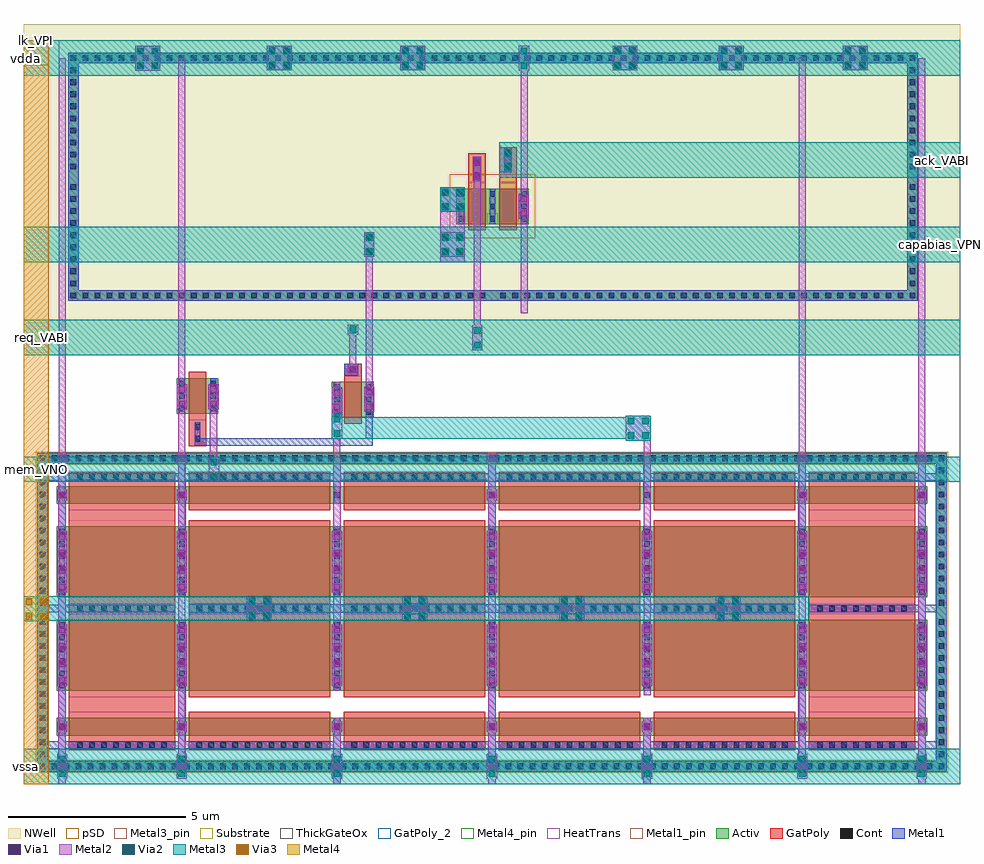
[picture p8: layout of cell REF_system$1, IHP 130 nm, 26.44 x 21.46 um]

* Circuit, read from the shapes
.subckt REF_system$1 ack_VABI capabias_VPN lk_VPI mem_VNO req_VABI vdda vssa
XM1 vssa vssa vssa vssa sg13_hv_nmos w=0.5u l=3u m=4
XM2 vssa vssa vssa vssa sg13_hv_nmos w=2u l=3u m=4
XM3 vssa vssa vssa vssa sg13_hv_nmos w=0.5u l=4u m=8
XM4 n1 lk_VPI vssa vssa sg13_hv_nmos w=2u l=4u m=8
XM5 mem_VNO capabias_VPN vssa vssa sg13_hv_nmos w=1u l=0.5u
XM6 capabias_VPN req_VABI n1 vssa sg13_hv_nmos w=1u l=0.5u
XM7 n2 req_VABI capabias_VPN vdda sg13_hv_pmos w=1u l=0.5u
XM8 vdda ack_VABI n2 vdda sg13_hv_pmos w=1u l=0.5u
.ends

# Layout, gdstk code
from math import pi, radians
import gdstk
lib = gdstk.Library(unit=1e-6, precision=1e-09)
def R(c, l, rs):  # rectangles x0, y0, x1, y1
    for r in rs: c.add(gdstk.rectangle(r[:2], r[2:], *l))
def A(c, l, x, y, w, h, nx, ny, dx, dy):  # array of equal rectangles
    R(c, l, [(x+i*dx, y+j*dy, x+i*dx+w, y+j*dy+h) for i in range(nx) for j in range(ny)])
def P(c, l, *ps):  # polygons
    for p in ps: c.add(gdstk.Polygon(p, *l))
Activ = (1, 0)
GatPoly = (5, 0)
GatPoly_2 = (5, 2)
Cont = (6, 0)
Metal1 = (8, 0)
Metal1_pin = (8, 2)
Metal2 = (10, 0)
pSD = (14, 0)
Via1 = (19, 0)
Via2 = (29, 0)
Metal3 = (30, 0)
Metal3_pin = (30, 2)
NWell = (31, 0)
Substrate = (40, 0)
ThickGateOx = (44, 0)
Via3 = (49, 0)
Metal4 = (50, 0)
Metal4_pin = (50, 2)
HeatTrans = (51, 0)

nmoshv = lib.new_cell('nmosHV')
A(nmoshv, Activ, 0, 0, 0.3, 0.3, 3, 1, 4.38, 0)
R(nmoshv, Activ, [(0,0,9.06,2)])
R(nmoshv, GatPoly, [(0.34,-0.18,4.34,2.18), (4.72,-0.18,8.72,2.18)])
R(nmoshv, GatPoly_2, [(0.34,-0.18,4.34,2.18)])
A(nmoshv, Cont, 0.07, 0.07, 0.16, 0.16, 3, 6, 4.38, 0.34)
A(nmoshv, Metal1, 0.07, 0, 0.16, 2, 3, 1, 4.38, 0)
R(nmoshv, Metal1_pin, [(0.07,0,0.23,2), (4.45,0,4.61,2)])
R(nmoshv, ThickGateOx, [(-0.27,-0.52,9.33,2.52)])
R(nmoshv, HeatTrans, [(0.34,-0.18,4.34,2.18), (4.72,-0.18,8.72,2.18)])
nmoshv.add(gdstk.Label('nmosHV', (2.34,1), layer=63, texttype=0))
nmoshv.add(gdstk.Label('nmosHV', (2.34,1), layer=51, texttype=0))
nmoshv.add(gdstk.Label('nmosHV', (6.72,1), layer=51, texttype=0))

nmoshv_1 = lib.new_cell('nmosHV$1')
A(nmoshv_1, Activ, 0, 0, 0.3, 0.3, 5, 1, 4.38, 0)
R(nmoshv_1, Activ, [(0,0,17.82,0.5)])
A(nmoshv_1, GatPoly, 0.34, -0.18, 4, 0.86, 4, 1, 4.38, 0)
R(nmoshv_1, GatPoly_2, [(0.34,-0.18,4.34,0.68)])
A(nmoshv_1, Cont, 0.07, 0.17, 0.16, 0.16, 5, 1, 4.38, 0)
A(nmoshv_1, Metal1, 0.07, 0, 0.16, 0.5, 5, 1, 4.38, 0)
R(nmoshv_1, Metal1_pin, [(0.07,0,0.23,0.5), (4.45,0,4.61,0.5)])
R(nmoshv_1, ThickGateOx, [(-0.27,-0.52,18.09,1.02)])
A(nmoshv_1, HeatTrans, 0.34, -0.18, 4, 0.86, 4, 1, 4.38, 0)
nmoshv_1.add(gdstk.Label('nmosHV', (2.34,0.25), layer=63, texttype=0))
nmoshv_1.add(gdstk.Label('nmosHV', (2.34,0.25), layer=51, texttype=0))
nmoshv_1.add(gdstk.Label('nmosHV', (6.72,0.25), layer=51, texttype=0))
nmoshv_1.add(gdstk.Label('nmosHV', (11.1,0.25), layer=51, texttype=0))
nmoshv_1.add(gdstk.Label('nmosHV', (15.48,0.25), layer=51, texttype=0))

nmoshv_7 = lib.new_cell('nmosHV$7')
R(nmoshv_7, Activ, [(0,0,0.3,0.3), (0,0,1.18,1), (0.88,0,1.18,0.3)])
R(nmoshv_7, GatPoly, [(0.34,-0.18,0.84,1.18)])
R(nmoshv_7, GatPoly_2, [(0.34,-0.18,0.84,1.18)])
A(nmoshv_7, Cont, 0.07, 0.07, 0.16, 0.16, 1, 3, 0, 0.35)
A(nmoshv_7, Cont, 0.95, 0.07, 0.16, 0.16, 1, 3, 0, 0.35)
R(nmoshv_7, Metal1, [(0.07,0,0.23,1), (0.95,0,1.11,1)])
R(nmoshv_7, Metal1_pin, [(0.07,0,0.23,1), (0.95,0,1.11,1)])
R(nmoshv_7, ThickGateOx, [(-0.27,-0.52,1.45,1.52)])
R(nmoshv_7, HeatTrans, [(0.34,-0.18,0.84,1.18)])
nmoshv_7.add(gdstk.Label('nmosHV', (0.59,0.5), layer=63, texttype=0))
nmoshv_7.add(gdstk.Label('nmosHV', (0.59,0.5), layer=51, texttype=0))

pmoshv_7 = lib.new_cell('pmosHV$7')
R(pmoshv_7, Activ, [(0,0,0.3,0.3), (0,0,1.18,1), (0.88,0,1.18,0.3)])
R(pmoshv_7, GatPoly, [(0.34,-0.18,0.84,1.18)])
R(pmoshv_7, GatPoly_2, [(0.34,-0.18,0.84,1.18)])
A(pmoshv_7, Cont, 0.07, 0.07, 0.16, 0.16, 1, 3, 0, 0.35)
A(pmoshv_7, Cont, 0.95, 0.07, 0.16, 0.16, 1, 3, 0, 0.35)
R(pmoshv_7, Metal1, [(0.07,0,0.23,1), (0.95,0,1.11,1)])
R(pmoshv_7, Metal1_pin, [(0.07,0,0.23,1), (0.95,0,1.11,1)])
R(pmoshv_7, pSD, [(-0.18,-0.4,1.36,1.4)])
R(pmoshv_7, NWell, [(-0.62,-0.62,1.8,1.62)])
R(pmoshv_7, Substrate, [(0.88,0,1.18,0.3)])
R(pmoshv_7, ThickGateOx, [(-0.62,-0.62,1.8,1.62)])
R(pmoshv_7, HeatTrans, [(0.34,-0.18,0.84,1.18)])
pmoshv_7.add(gdstk.Label('pmosHV', (0.59,0.5), layer=63, texttype=0))
pmoshv_7.add(gdstk.Label('pmos', (0.59,0.5), layer=51, texttype=0))

via_stack_3 = lib.new_cell('via_stack$3')
R(via_stack_3, Metal1, [(-0.145,-0.35,0.145,0.35)])
R(via_stack_3, Metal2, [(-0.145,-0.35,0.145,0.35)])
R(via_stack_3, Via1, [(-0.095,-0.3,0.095,-0.11), (-0.095,0.11,0.095,0.3)])

guard_ring_7 = lib.new_cell('guard_ring$7')
R(guard_ring_7, Activ, [(-12.85,-4.2,-12.55,4.2), (12.55,-4.2,12.85,4.2), (-12.85,4.2,12.85,4.5)])
P(guard_ring_7, Activ, [(-12.85,-4.5),(-12.85,4.2),(-12.55,4.2),(-12.55,-4.2),(12.55,-4.2),(12.55,4.2),(-12.85,4.2),(-12.85,4.5),(12.85,4.5),(12.85,-4.5)])
A(guard_ring_7, Cont, -12.78, -4.43, 0.16, 0.16, 37, 2, 0.34, 8.7)
A(guard_ring_7, Cont, 0.04, -4.43, 0.16, 0.16, 38, 2, 0.34, 8.7)
A(guard_ring_7, Cont, -12.78, -4.09, 0.16, 0.16, 1, 12, 0, 0.34)
A(guard_ring_7, Cont, 12.62, -4.09, 0.16, 0.16, 1, 12, 0, 0.34)
A(guard_ring_7, Cont, -12.78, 0.19, 0.16, 0.16, 1, 12, 0, 0.34)
A(guard_ring_7, Cont, 12.62, 0.19, 0.16, 0.16, 1, 12, 0, 0.34)
R(guard_ring_7, Metal1, [(-12.85,-4.5,12.85,-4.2), (-12.85,-4.2,-12.55,4.2), (12.55,-4.2,12.85,4.2), (-12.85,4.2,12.85,4.5)])
R(guard_ring_7, pSD, [(-12.88,-4.17,-12.52,4.17), (12.52,-4.17,12.88,4.17), (-12.88,4.17,12.88,4.53)])
P(guard_ring_7, pSD, [(-12.88,-4.53),(-12.88,4.17),(-12.52,4.17),(-12.52,-4.17),(12.52,-4.17),(12.52,4.17),(-12.88,4.17),(-12.88,4.53),(12.88,4.53),(12.88,-4.53)])
R(guard_ring_7, Substrate, [(-12.88,-4.17,-12.52,4.17), (12.52,-4.17,12.88,4.17), (-12.88,4.17,12.88,4.53)])
P(guard_ring_7, Substrate, [(-12.88,-4.53),(-12.88,4.17),(-12.52,4.17),(-12.52,-4.17),(12.52,-4.17),(12.52,4.17),(-12.88,4.17),(-12.88,4.53),(12.88,4.53),(12.88,-4.53)])

guard_ring_3_1 = lib.new_cell('guard_ring$3$1')
R(guard_ring_3_1, Activ, [(-12,-3.2,-11.7,3.2), (11.7,-3.2,12,3.2), (-12,3.2,12,3.5)])
P(guard_ring_3_1, Activ, [(-12,-3.5),(-12,3.2),(-11.7,3.2),(-11.7,-3.2),(11.7,-3.2),(11.7,3.2),(-12,3.2),(-12,3.5),(12,3.5),(12,-3.5)])
A(guard_ring_3_1, Cont, -11.93, -3.43, 0.16, 0.16, 35, 2, 0.34, 6.7)
A(guard_ring_3_1, Cont, 0.21, -3.43, 0.16, 0.16, 35, 2, 0.34, 6.7)
A(guard_ring_3_1, Cont, -11.93, -3.09, 0.16, 0.16, 1, 9, 0, 0.34)
A(guard_ring_3_1, Cont, 11.77, -3.09, 0.16, 0.16, 1, 9, 0, 0.34)
A(guard_ring_3_1, Cont, -11.93, 0.21, 0.16, 0.16, 1, 9, 0, 0.34)
A(guard_ring_3_1, Cont, 11.77, 0.21, 0.16, 0.16, 1, 9, 0, 0.34)
R(guard_ring_3_1, Metal1, [(-12,-3.5,12,-3.2), (-12,-3.2,-11.7,3.2), (11.7,-3.2,12,3.2), (-12,3.2,12,3.5)])
R(guard_ring_3_1, NWell, [(-12.35,-3.85,12.35,3.85)])

via_stack_17 = lib.new_cell('via_stack$17')
R(via_stack_17, Metal1, [(-0.35,-0.35,0.35,0.35)])
R(via_stack_17, Metal2, [(-0.35,-0.35,0.35,0.35)])
R(via_stack_17, Via1, [(-0.3,-0.3,-0.11,-0.11), (0.11,-0.3,0.3,-0.11), (-0.3,0.11,-0.11,0.3), (0.11,0.11,0.3,0.3)])
R(via_stack_17, Via2, [(-0.3,-0.3,-0.11,-0.11), (0.11,-0.3,0.3,-0.11), (-0.3,0.11,-0.11,0.3), (0.11,0.11,0.3,0.3)])
R(via_stack_17, Metal3, [(-0.35,-0.35,0.35,0.35)])

via_stack = lib.new_cell('via_stack')
R(via_stack, Metal2, [(-0.145,-0.35,0.145,0.35)])
R(via_stack, Via2, [(-0.095,-0.3,0.095,-0.11), (-0.095,0.11,0.095,0.3)])
R(via_stack, Metal3, [(-0.145,-0.35,0.145,0.35)])

via_stack_15_1 = lib.new_cell('via_stack$15$1')
R(via_stack_15_1, GatPoly, [(-0.15,-0.32,0.15,0.32)])
R(via_stack_15_1, Cont, [(-0.08,-0.25,0.08,-0.09), (-0.08,0.09,0.08,0.25)])
R(via_stack_15_1, Metal1, [(-0.105,-0.35,0.105,0.35)])
R(via_stack_15_1, Metal2, [(-0.1,-0.35,0.1,0.35)])
R(via_stack_15_1, Via1, [(-0.095,-0.3,0.095,-0.11), (-0.095,0.11,0.095,0.3)])
R(via_stack_15_1, Via2, [(-0.095,-0.3,0.095,-0.11), (-0.095,0.11,0.095,0.3)])
R(via_stack_15_1, Metal3, [(-0.1,-0.35,0.1,0.35)])

via_stack_14 = lib.new_cell('via_stack$14')
R(via_stack_14, Metal1, [(-0.145,-0.35,0.145,0.35)])
R(via_stack_14, Metal2, [(-0.145,-0.35,0.145,0.35)])
R(via_stack_14, Via1, [(-0.095,-0.3,0.095,-0.11), (-0.095,0.11,0.095,0.3)])
R(via_stack_14, Via2, [(-0.095,-0.3,0.095,-0.11), (-0.095,0.11,0.095,0.3)])
R(via_stack_14, Metal3, [(-0.145,-0.35,0.145,0.35)])

via_stack_19 = lib.new_cell('via_stack$19')
R(via_stack_19, Metal2, [(-0.145,-0.145,0.145,0.145)])
R(via_stack_19, Via2, [(-0.095,-0.095,0.095,0.095)])
R(via_stack_19, Metal3, [(-0.145,-0.145,0.145,0.145)])

via_stack_22 = lib.new_cell('via_stack$22')
R(via_stack_22, GatPoly, [(-0.15,-0.32,0.15,0.32)])
R(via_stack_22, Cont, [(-0.08,-0.25,0.08,-0.09), (-0.08,0.09,0.08,0.25)])
R(via_stack_22, Metal1, [(-0.105,-0.35,0.105,0.35)])
R(via_stack_22, Metal2, [(-0.1,-0.35,0.1,0.35)])
R(via_stack_22, Via1, [(-0.095,-0.3,0.095,-0.11), (-0.095,0.11,0.095,0.3)])

via_stack_21_2 = lib.new_cell('via_stack$21$2')
R(via_stack_21_2, GatPoly, [(-0.15,-0.15,0.15,0.15)])
R(via_stack_21_2, Cont, [(-0.08,-0.08,0.08,0.08)])
R(via_stack_21_2, Metal1, [(-0.145,-0.105,0.145,0.105)])
R(via_stack_21_2, Metal2, [(-0.145,-0.1,0.145,0.1)])
R(via_stack_21_2, Via1, [(-0.095,-0.095,0.095,0.095)])

via_stack_1 = lib.new_cell('via_stack$1')
R(via_stack_1, Metal1, [(-0.145,-0.145,0.145,0.145)])
R(via_stack_1, Metal2, [(-0.145,-0.145,0.145,0.145)])
R(via_stack_1, Via1, [(-0.095,-0.095,0.095,0.095)])

via_stack_2 = lib.new_cell('via_stack$2')
R(via_stack_2, Metal1, [(-0.865,-0.145,0.865,0.145)])
R(via_stack_2, Metal2, [(-0.865,-0.145,0.865,0.145)])
A(via_stack_2, Via1, -0.815, -0.095, 0.19, 0.19, 4, 1, 0.48, 0)

nmoshv_2 = lib.new_cell('nmosHV$2')
R(nmoshv_2, Activ, [(0,0,0.3,0.3), (0,0,3.68,0.5), (3.38,0,3.68,0.3)])
R(nmoshv_2, GatPoly, [(0.34,-0.18,3.34,0.68)])
R(nmoshv_2, GatPoly_2, [(0.34,-0.18,3.34,0.68)])
R(nmoshv_2, Cont, [(0.07,0.17,0.23,0.33), (3.45,0.17,3.61,0.33)])
R(nmoshv_2, Metal1, [(0.07,0,0.23,0.5), (3.45,0,3.61,0.5)])
R(nmoshv_2, Metal1_pin, [(0.07,0,0.23,0.5), (3.45,0,3.61,0.5)])
R(nmoshv_2, ThickGateOx, [(-0.27,-0.52,3.95,1.02)])
R(nmoshv_2, HeatTrans, [(0.34,-0.18,3.34,0.68)])
nmoshv_2.add(gdstk.Label('nmosHV', (1.84,0.25), layer=63, texttype=0))
nmoshv_2.add(gdstk.Label('nmosHV', (1.84,0.25), layer=51, texttype=0))

nmoshv_3 = lib.new_cell('nmosHV$3')
R(nmoshv_3, Activ, [(0,0,0.3,0.3), (0,0,3.68,2), (3.38,0,3.68,0.3)])
R(nmoshv_3, GatPoly, [(0.34,-0.18,3.34,2.18)])
R(nmoshv_3, GatPoly_2, [(0.34,-0.18,3.34,2.18)])
A(nmoshv_3, Cont, 0.07, 0.07, 0.16, 0.16, 1, 6, 0, 0.34)
A(nmoshv_3, Cont, 3.45, 0.07, 0.16, 0.16, 1, 6, 0, 0.34)
R(nmoshv_3, Metal1, [(0.07,0,0.23,2), (3.45,0,3.61,2)])
R(nmoshv_3, Metal1_pin, [(0.07,0,0.23,2), (3.45,0,3.61,2)])
R(nmoshv_3, ThickGateOx, [(-0.27,-0.52,3.95,2.52)])
R(nmoshv_3, HeatTrans, [(0.34,-0.18,3.34,2.18)])
nmoshv_3.add(gdstk.Label('nmosHV', (1.84,1), layer=63, texttype=0))
nmoshv_3.add(gdstk.Label('nmosHV', (1.84,1), layer=51, texttype=0))

via_stack_7_2 = lib.new_cell('via_stack$7$2')
R(via_stack_7_2, GatPoly, [(-1.85,-0.15,1.85,0.15)])
A(via_stack_7_2, Cont, -1.78, -0.08, 0.16, 0.16, 11, 1, 0.34, 0)
R(via_stack_7_2, Metal1, [(-1.83,-0.08,1.83,0.08)])

via_stack_9 = lib.new_cell('via_stack$9')
R(via_stack_9, GatPoly, [(-1.34,-0.15,1.34,0.15)])
A(via_stack_9, Cont, -1.27, -0.08, 0.16, 0.16, 8, 1, 0.34, 0)
R(via_stack_9, Metal1, [(-1.32,-0.08,1.32,0.08)])

via_stack_13 = lib.new_cell('via_stack$13')
R(via_stack_13, GatPoly, [(-0.15,-0.32,0.15,0.32)])
R(via_stack_13, Cont, [(-0.08,-0.25,0.08,-0.09), (-0.08,0.09,0.08,0.25)])
R(via_stack_13, Metal1, [(-0.08,-0.3,0.08,0.3)])

via_stack_6 = lib.new_cell('via_stack$6')
R(via_stack_6, Metal3, [(-0.35,-0.35,0.35,0.35)])
R(via_stack_6, Via3, [(-0.3,-0.3,-0.11,-0.11), (0.11,-0.3,0.3,-0.11), (-0.3,0.11,-0.11,0.3), (0.11,0.11,0.3,0.3)])
R(via_stack_6, Metal4, [(-0.35,-0.35,0.35,0.35)])

via_stack_5 = lib.new_cell('via_stack$5')
R(via_stack_5, Metal1, [(-0.35,-0.145,0.35,0.145)])
R(via_stack_5, Metal2, [(-0.35,-0.145,0.35,0.145)])
R(via_stack_5, Via1, [(-0.3,-0.095,-0.11,0.095), (0.11,-0.095,0.3,0.095)])

via_stack_32_1 = lib.new_cell('via_stack$32$1')
R(via_stack_32_1, Metal2, [(-0.35,-0.35,0.35,0.35)])
R(via_stack_32_1, Via2, [(-0.3,-0.3,-0.11,-0.11), (0.11,-0.3,0.3,-0.11), (-0.3,0.11,-0.11,0.3), (0.11,0.11,0.3,0.3)])
R(via_stack_32_1, Metal3, [(-0.35,-0.35,0.35,0.35)])

ref_system_1 = lib.new_cell('REF_system$1')
A(ref_system_1, GatPoly, 4.65, 0.455, 4, 0.3, 4, 1, 4.38, 0)
A(ref_system_1, GatPoly, 4.65, 1.955, 4, 5, 4, 1, 4.38, 0)
R(ref_system_1, GatPoly, [(1.27,0.455,4.27,8.325), (22.17,0.455,25.17,8.325), (4.65,8.025,8.65,8.325), (4.65,8.025,8.65,8.325), (9.03,8.025,13.03,8.325), (9.03,8.025,13.03,8.325), (13.41,8.025,17.41,8.325), (13.41,8.025,17.41,8.325), (17.79,8.025,21.79,8.325), (17.79,8.025,21.79,8.325), (4.655,9.035,5.155,9.955), (9.04,10.965,9.54,11.375), (13.425,16.21,13.92,17.485), (12.545,16.395,13.045,17.315)])
A(ref_system_1, Metal1, 4.355, 0.865, 0.21, 0.5, 5, 1, 4.38, 0)
A(ref_system_1, Metal1, 4.355, 2.135, 0.21, 2, 5, 2, 4.38, 2.64)
R(ref_system_1, Metal1, [(0.975,0.865,1.185,1.365), (25.255,0.865,25.465,1.365), (0.975,2.135,1.185,4.135), (25.255,2.135,25.465,4.135), (0.975,4.775,1.185,6.775), (25.255,4.775,25.465,6.775), (0.975,7.415,1.185,7.915), (0.975,7.415,1.185,7.915), (4.355,7.415,4.565,7.915), (4.355,7.415,4.565,7.915), (8.74,7.415,8.95,7.915), (8.74,7.415,8.95,7.915), (13.115,7.415,13.325,7.915), (13.115,7.415,13.325,7.915), (17.495,7.415,17.705,7.915), (17.495,7.415,17.705,7.915), (21.875,7.415,22.085,7.915), (21.875,7.415,22.085,7.915), (25.255,7.415,25.465,7.915), (25.255,7.415,25.465,7.915), (1.27,8.07,4.27,8.28), (1.27,8.07,4.27,8.28), (22.17,8.07,25.17,8.28), (22.17,8.07,25.17,8.28), (9.04,11.035,9.44,11.375)])
R(ref_system_1, Metal2, [(13.425,16.78,13.775,17.485)])
R(ref_system_1, Metal3_pin, [(0,-0.5,1,0.5), (0,8.04,0.7,8.74), (0,11.605,1,12.605), (25.44,14.24,26.44,15.24), (25.44,16.62,26.44,17.62), (0,19.5,1,20.5)])
R(ref_system_1, NWell, [(0,11.605,26.44,20.965)])
R(ref_system_1, ThickGateOx, [(0,-0.5,26.44,20.5)])
R(ref_system_1, Metal4_pin, [(0,19.8,0.7,20.5)])
ref_system_1.add(gdstk.FlexPath([(4.82,9.16),(9.75,9.16),(9.75,10.855)], 0.2, ends="flush", simple_path=True, layer=8, datatype=0))  # Metal1
ref_system_1.add(gdstk.FlexPath([(1.08,8.85),(1.08,-0.15)], 0.21, ends="flush", simple_path=True, layer=8, datatype=0))  # Metal1
ref_system_1.add(gdstk.FlexPath([(1.08,2.04),(1.08,0)], 0.21, ends="flush", simple_path=True, layer=8, datatype=0))  # Metal1
ref_system_1.add(gdstk.FlexPath([(25.36,2.04),(25.36,0)], 0.21, ends="flush", simple_path=True, layer=8, datatype=0))  # Metal1
ref_system_1.add(gdstk.FlexPath([(25.36,-0.15),(25.36,8.85)], 0.21, ends="flush", simple_path=True, layer=8, datatype=0))  # Metal1
ref_system_1.add(gdstk.FlexPath([(13.22,8.85),(13.22,4.775)], 0.21, ends="flush", simple_path=True, layer=8, datatype=0))  # Metal1
ref_system_1.add(gdstk.FlexPath([(4.46,4.135),(4.46,0)], 0.21, ends="flush", simple_path=True, layer=8, datatype=0))  # Metal1
ref_system_1.add(gdstk.FlexPath([(21.98,4.135),(21.98,0)], 0.21, ends="flush", simple_path=True, layer=8, datatype=0))  # Metal1
ref_system_1.add(gdstk.FlexPath([(21.98,8.85),(21.98,4.775)], 0.21, ends="flush", simple_path=True, layer=8, datatype=0))  # Metal1
ref_system_1.add(gdstk.FlexPath([(13.22,4.135),(13.22,0)], 0.21, ends="flush", simple_path=True, layer=8, datatype=0))  # Metal1
ref_system_1.add(gdstk.FlexPath([(4.65,4.455),(21.79,4.455)], 0.24, ends="flush", simple_path=True, layer=8, datatype=0))  # Metal1
ref_system_1.add(gdstk.FlexPath([(9.03,4.455),(13.03,4.455)], 0.24, ends="flush", simple_path=True, layer=8, datatype=0))  # Metal1
ref_system_1.add(gdstk.FlexPath([(13.41,4.455),(17.41,4.455)], 0.24, ends="flush", simple_path=True, layer=8, datatype=0))  # Metal1
ref_system_1.add(gdstk.FlexPath([(17.79,4.455),(21.79,4.455)], 0.24, ends="flush", simple_path=True, layer=8, datatype=0))  # Metal1
ref_system_1.add(gdstk.FlexPath([(8.84,1.365),(8.84,-0.5)], 0.21, ends="flush", simple_path=True, layer=8, datatype=0))  # Metal1
ref_system_1.add(gdstk.FlexPath([(17.6,1.365),(17.6,-0.5)], 0.21, ends="flush", simple_path=True, layer=8, datatype=0))  # Metal1
ref_system_1.add(gdstk.FlexPath([(8.845,8.85),(8.845,7.415)], 0.21, ends="flush", simple_path=True, layer=8, datatype=0))  # Metal1
ref_system_1.add(gdstk.FlexPath([(17.6,8.85),(17.6,7.415)], 0.21, ends="flush", simple_path=True, layer=8, datatype=0))  # Metal1
ref_system_1.add(gdstk.FlexPath([(4.46,8.85),(4.46,4.775)], 0.21, ends="flush", simple_path=True, layer=8, datatype=0))  # Metal1
ref_system_1.add(gdstk.FlexPath([(4.27,4.455),(0.38,4.455)], 0.21, ends="flush", simple_path=True, layer=8, datatype=0))  # Metal1
ref_system_1.add(gdstk.FlexPath([(0.38,8.175),(26.06,8.175)], 0.21, ends="flush", simple_path=True, layer=8, datatype=0))  # Metal1
ref_system_1.add(gdstk.FlexPath([(22.17,4.455),(26.06,4.455),(26.06,4.455)], 0.21, ends="flush", simple_path=True, layer=8, datatype=0))  # Metal1
ref_system_1.add(gdstk.FlexPath([(0.38,0.605),(26.06,0.605)], 0.21, ends="flush", simple_path=True, layer=8, datatype=0))  # Metal1
ref_system_1.add(gdstk.FlexPath([(0.38,8.175),(26.06,8.175)], 0.21, ends="flush", simple_path=True, layer=8, datatype=0))  # Metal1
ref_system_1.add(gdstk.FlexPath([(17.6,8.85),(17.6,7.415)], 0.21, ends="flush", simple_path=True, layer=8, datatype=0))  # Metal1
ref_system_1.add(gdstk.FlexPath([(8.845,8.85),(8.845,7.415)], 0.21, ends="flush", simple_path=True, layer=8, datatype=0))  # Metal1
ref_system_1.add(gdstk.FlexPath([(8.845,10.705),(8.845,9.255)], 0.3, ends="flush", simple_path=True, layer=10, datatype=0))  # Metal2
ref_system_1.add(gdstk.FlexPath([(17.6,2),(17.6,9.855)], 0.2, ends="flush", simple_path=True, layer=10, datatype=0))  # Metal2
ref_system_1.add(gdstk.FlexPath([(12.105,16.315),(12.105,14.24)], 0.7, ends="flush", simple_path=True, layer=10, datatype=0))  # Metal2
ref_system_1.add(gdstk.FlexPath([(14.125,20.35),(14.125,12.8)], 0.2, ends="flush", simple_path=True, layer=10, datatype=0))  # Metal2
ref_system_1.add(gdstk.FlexPath([(1.08,8.845),(1.08,19.995)], 0.2, ends="flush", simple_path=True, layer=10, datatype=0))  # Metal2
ref_system_1.add(gdstk.FlexPath([(4.46,10.81),(4.46,20)], 0.2, ends="flush", simple_path=True, layer=10, datatype=0))  # Metal2
ref_system_1.add(gdstk.FlexPath([(21.98,8.845),(21.98,20.005)], 0.2, ends="flush", simple_path=True, layer=10, datatype=0))  # Metal2
ref_system_1.add(gdstk.FlexPath([(25.36,8.845),(25.36,20)], 0.2, ends="flush", simple_path=True, layer=10, datatype=0))  # Metal2
ref_system_1.add(gdstk.FlexPath([(4.46,9.675),(4.46,10.81)], 0.2, ends="flush", simple_path=True, layer=10, datatype=0))  # Metal2
ref_system_1.add(gdstk.FlexPath([(5.355,10.79),(5.355,8.04)], 0.2, ends="flush", simple_path=True, layer=10, datatype=0))  # Metal2
ref_system_1.add(gdstk.FlexPath([(9.75,10.02),(9.75,14.74)], 0.2, ends="flush", simple_path=True, layer=10, datatype=0))  # Metal2
ref_system_1.add(gdstk.FlexPath([(12.8,17.22),(12.8,11.755)], 0.2, ends="flush", simple_path=True, layer=10, datatype=0))  # Metal2
ref_system_1.add(gdstk.FlexPath([(8.84,2.135),(8.84,8.695)], 0.21, ends="flush", simple_path=True, layer=10, datatype=0))  # Metal2
ref_system_1.add(gdstk.FlexPath([(25.36,8.85),(25.36,-0.5)], 0.21, ends="flush", simple_path=True, layer=10, datatype=0))  # Metal2
ref_system_1.add(gdstk.FlexPath([(1.08,8.85),(1.08,-0.5)], 0.21, ends="flush", simple_path=True, layer=10, datatype=0))  # Metal2
ref_system_1.add(gdstk.FlexPath([(13.22,8.85),(13.22,-0.5)], 0.21, ends="flush", simple_path=True, layer=10, datatype=0))  # Metal2
ref_system_1.add(gdstk.FlexPath([(8.84,1.365),(8.84,-0.5)], 0.21, ends="flush", simple_path=True, layer=10, datatype=0))  # Metal2
ref_system_1.add(gdstk.FlexPath([(17.6,1.365),(17.6,-0.5)], 0.21, ends="flush", simple_path=True, layer=10, datatype=0))  # Metal2
ref_system_1.add(gdstk.FlexPath([(8.84,8.695),(8.84,10.855)], 0.2, ends="flush", simple_path=True, layer=10, datatype=0))  # Metal2
ref_system_1.add(gdstk.FlexPath([(4.46,-0.35),(4.46,9.675)], 0.2, ends="flush", simple_path=True, layer=10, datatype=0))  # Metal2
ref_system_1.add(gdstk.FlexPath([(21.98,-0.35),(21.98,8.845)], 0.2, ends="flush", simple_path=True, layer=10, datatype=0))  # Metal2
ref_system_1.add(gdstk.FlexPath([(9.29,11.115),(9.29,12.43)], 0.2, ends="flush", simple_path=True, layer=10, datatype=0))  # Metal2
ref_system_1.add(gdstk.FlexPath([(17.7,9.55),(8.745,9.55)], 0.61, ends="flush", simple_path=True, layer=30, datatype=0))  # Metal3
ref_system_1.add(gdstk.FlexPath([(26.44,12.105),(0,12.105)], 1, ends="flush", simple_path=True, layer=30, datatype=0))  # Metal3
ref_system_1.add(gdstk.FlexPath([(0,4.455),(22.17,4.455)], 0.7, ends="flush", simple_path=True, layer=30, datatype=0))  # Metal3
ref_system_1.add(gdstk.FlexPath([(26.44,17.12),(13.425,17.12)], 1, ends="flush", simple_path=True, layer=30, datatype=0))  # Metal3
ref_system_1.add(gdstk.FlexPath([(26.44,8.39),(0,8.39)], 0.7, ends="flush", simple_path=True, layer=30, datatype=0))  # Metal3
ref_system_1.add(gdstk.FlexPath([(0,0),(26.44,0)], 1, ends="flush", simple_path=True, layer=30, datatype=0))  # Metal3
ref_system_1.add(gdstk.FlexPath([(0,20),(26.44,20)], 1, ends="flush", simple_path=True, layer=30, datatype=0))  # Metal3
ref_system_1.add(gdstk.FlexPath([(26.44,8.39),(0,8.39)], 0.7, ends="flush", simple_path=True, layer=30, datatype=0))  # Metal3
ref_system_1.add(gdstk.FlexPath([(26.44,14.74),(0,14.74)], 1, ends="flush", simple_path=True, layer=30, datatype=0))  # Metal3
ref_system_1.add(gdstk.FlexPath([(0.35,-0.5),(0.35,20.5)], 0.7, ends="flush", simple_path=True, layer=50, datatype=0))  # Metal4
ref_system_1.add(gdstk.Reference(nmoshv, (4.31,2.135)))
ref_system_1.add(gdstk.Reference(nmoshv, (13.07,2.135)))
ref_system_1.add(gdstk.Reference(nmoshv, (4.31,4.775)))
ref_system_1.add(gdstk.Reference(nmoshv_1, (4.31,7.415)))
ref_system_1.add(gdstk.Reference(nmoshv_1, (4.31,0.865)))
ref_system_1.add(gdstk.Reference(nmoshv, (13.07,4.775)))
ref_system_1.add(gdstk.Reference(nmoshv_7, (9.88,10.855), rotation=pi))
ref_system_1.add(gdstk.Reference(pmoshv_7, (13.085,15.315)))
ref_system_1.add(gdstk.Reference(pmoshv_7, (12.205,15.315)))
ref_system_1.add(gdstk.Reference(nmoshv_1, (4.31,7.415)))
ref_system_1.add(gdstk.Reference(nmoshv_7, (4.315,9.96)))
ref_system_1.add(gdstk.Reference(via_stack_3, (8.845,10.355)))
ref_system_1.add(gdstk.Reference(via_stack_3, (9.75,10.37)))
r = gdstk.Reference(guard_ring_7, (13.22,4.35)); r.repetition = gdstk.Repetition(1, 1, v1=(0,0), v2=(0,0)); ref_system_1.add(r)
r = gdstk.Reference(guard_ring_3_1, (13.245,16.65)); r.repetition = gdstk.Repetition(1, 1, v1=(0,0), v2=(0,0)); ref_system_1.add(r)
ref_system_1.add(gdstk.Reference(via_stack_17, (19.975,20.005)))
ref_system_1.add(gdstk.Reference(via_stack_17, (23.48,20.005)))
ref_system_1.add(gdstk.Reference(via_stack, (14.125,20)))
ref_system_1.add(gdstk.Reference(via_stack_17, (16.975,20.005)))
ref_system_1.add(gdstk.Reference(via_stack_17, (16.975,20.005)))
ref_system_1.add(gdstk.Reference(via_stack_3, (14.115,15.815)))
ref_system_1.add(gdstk.Reference(via_stack_15_1, (13.665,17.13)))
ref_system_1.add(gdstk.Reference(via_stack_14, (9.75,14.74)))
ref_system_1.add(gdstk.Reference(via_stack_17, (12.105,14.74)))
ref_system_1.add(gdstk.Reference(via_stack_17, (10.98,20.005)))
ref_system_1.add(gdstk.Reference(via_stack_17, (7.215,20.005)))
ref_system_1.add(gdstk.Reference(via_stack_19, (9.295,12.33)))
ref_system_1.add(gdstk.Reference(via_stack_3, (5.355,10.44)))
ref_system_1.add(gdstk.Reference(via_stack_3, (4.465,10.44)))
ref_system_1.add(gdstk.Reference(via_stack_22, (12.8,16.87)))
ref_system_1.add(gdstk.Reference(via_stack, (12.805,12.105)))
ref_system_1.add(gdstk.Reference(via_stack_17, (3.5,20)))
ref_system_1.add(gdstk.Reference(via_stack_17, (12.105,16.01)))
ref_system_1.add(gdstk.Reference(via_stack_21_2, (9.29,11.21)))
ref_system_1.add(gdstk.Reference(via_stack, (4.46,0)))
ref_system_1.add(gdstk.Reference(via_stack_1, (4.46,0), rotation=pi/2))
ref_system_1.add(gdstk.Reference(via_stack_1, (4.46,1.115), rotation=pi/2))
ref_system_1.add(gdstk.Reference(via_stack_2, (4.46,3.135), rotation=pi/2))
ref_system_1.add(gdstk.Reference(via_stack_2, (4.46,5.775), rotation=pi/2))
ref_system_1.add(gdstk.Reference(via_stack_1, (4.46,7.665), rotation=pi/2))
ref_system_1.add(gdstk.Reference(via_stack_1, (4.46,8.7), rotation=pi/2))
ref_system_1.add(gdstk.Reference(nmoshv_2, (0.93,0.865)))
ref_system_1.add(gdstk.Reference(nmoshv_2, (0.93,7.415)))
ref_system_1.add(gdstk.Reference(nmoshv_3, (0.93,4.775)))
ref_system_1.add(gdstk.Reference(nmoshv_3, (0.93,2.135)))
ref_system_1.add(gdstk.Reference(via_stack, (1.08,0)))
ref_system_1.add(gdstk.Reference(via_stack_7_2, (11.03,8.175)))
ref_system_1.add(gdstk.Reference(via_stack_7_2, (6.65,8.175)))
ref_system_1.add(gdstk.Reference(via_stack_9, (2.77,8.175)))
ref_system_1.add(gdstk.Reference(via_stack_1, (1.08,7.665), rotation=pi/2))
ref_system_1.add(gdstk.Reference(nmoshv_2, (0.93,7.415)))
ref_system_1.add(gdstk.Reference(via_stack_1, (4.46,8.7), rotation=pi/2))
ref_system_1.add(gdstk.Reference(via_stack_1, (4.46,7.665), rotation=pi/2))
ref_system_1.add(gdstk.Reference(via_stack, (5.365,8.39)))
ref_system_1.add(gdstk.Reference(via_stack_1, (1.08,8.7), rotation=pi/2))
ref_system_1.add(gdstk.Reference(via_stack_1, (1.08,0), rotation=pi/2))
ref_system_1.add(gdstk.Reference(via_stack_13, (4.9,9.42)))
ref_system_1.add(gdstk.Reference(via_stack_1, (1.08,1.115), rotation=pi/2))
ref_system_1.add(gdstk.Reference(via_stack_7_2, (6.65,4.455)))
ref_system_1.add(gdstk.Reference(via_stack_7_2, (11.03,4.455)))
ref_system_1.add(gdstk.Reference(via_stack_2, (8.84,3.135), rotation=pi/2))
ref_system_1.add(gdstk.Reference(via_stack_2, (8.84,5.775), rotation=pi/2))
ref_system_1.add(gdstk.Reference(via_stack_6, (0.35,4.445)))
ref_system_1.add(gdstk.Reference(via_stack, (8.84,0)))
ref_system_1.add(gdstk.Reference(via_stack_1, (8.84,0), rotation=pi/2))
ref_system_1.add(gdstk.Reference(via_stack_1, (8.84,1.115), rotation=pi/2))
ref_system_1.add(gdstk.Reference(via_stack_5, (6.65,4.455)))
ref_system_1.add(gdstk.Reference(via_stack_2, (1.08,3.135), rotation=pi/2))
ref_system_1.add(gdstk.Reference(via_stack, (8.84,9.605)))
ref_system_1.add(gdstk.Reference(via_stack_32_1, (6.65,4.455)))
ref_system_1.add(gdstk.Reference(via_stack_32_1, (6.65,4.455)))
ref_system_1.add(gdstk.Reference(via_stack_5, (11.035,4.445)))
ref_system_1.add(gdstk.Reference(via_stack_32_1, (11.035,4.455)))
ref_system_1.add(gdstk.Reference(via_stack_2, (1.08,5.775), rotation=pi/2))
ref_system_1.add(gdstk.Reference(via_stack_1, (1.08,7.665), rotation=pi/2))
ref_system_1.add(gdstk.Reference(via_stack_9, (2.77,4.455)))
ref_system_1.add(gdstk.Reference(via_stack_9, (2.77,8.175)))
ref_system_1.add(gdstk.Reference(via_stack_9, (2.77,0.605)))
ref_system_1.add(gdstk.Reference(via_stack_7_2, (6.65,0.605)))
ref_system_1.add(gdstk.Reference(via_stack_7_2, (11.03,0.605)))
ref_system_1.add(gdstk.Reference(via_stack_7_2, (6.65,8.175)))
ref_system_1.add(gdstk.Reference(via_stack_7_2, (11.03,8.175)))
ref_system_1.add(gdstk.Reference(via_stack_1, (1.08,8.7), rotation=pi/2))
ref_system_1.add(gdstk.Reference(via_stack_7_2, (15.41,8.175)))
ref_system_1.add(gdstk.Reference(via_stack_1, (21.98,1.115), rotation=pi/2))
ref_system_1.add(gdstk.Reference(via_stack_7_2, (19.79,8.175)))
ref_system_1.add(gdstk.Reference(via_stack, (17.6,0)))
ref_system_1.add(gdstk.Reference(via_stack_1, (17.6,0), rotation=pi/2))
ref_system_1.add(gdstk.Reference(via_stack_1, (17.6,1.115), rotation=pi/2))
ref_system_1.add(gdstk.Reference(via_stack_7_2, (19.79,8.175)))
ref_system_1.add(gdstk.Reference(via_stack_7_2, (15.41,8.175)))
ref_system_1.add(gdstk.Reference(via_stack_1, (25.36,7.665), rotation=pi/2))
ref_system_1.add(gdstk.Reference(via_stack_9, (23.67,8.175)))
ref_system_1.add(gdstk.Reference(via_stack_1, (25.36,8.7), rotation=pi/2))
ref_system_1.add(gdstk.Reference(via_stack_1, (21.98,8.7), rotation=pi/2))
ref_system_1.add(gdstk.Reference(via_stack_1, (21.98,7.665), rotation=pi/2))
ref_system_1.add(gdstk.Reference(via_stack_1, (13.22,8.7), rotation=pi/2))
ref_system_1.add(gdstk.Reference(nmoshv_2, (21.83,7.415)))
ref_system_1.add(gdstk.Reference(via_stack_2, (21.98,3.135), rotation=pi/2))
ref_system_1.add(gdstk.Reference(via_stack_5, (19.89,4.445)))
ref_system_1.add(gdstk.Reference(via_stack_2, (21.98,5.775), rotation=pi/2))
ref_system_1.add(gdstk.Reference(via_stack_1, (21.98,7.665), rotation=pi/2))
ref_system_1.add(gdstk.Reference(via_stack_1, (21.98,8.7), rotation=pi/2))
ref_system_1.add(gdstk.Reference(via_stack, (25.36,0)))
ref_system_1.add(gdstk.Reference(via_stack_1, (25.36,0), rotation=pi/2))
ref_system_1.add(gdstk.Reference(via_stack_1, (25.36,8.7), rotation=pi/2))
ref_system_1.add(gdstk.Reference(via_stack_1, (25.36,1.115), rotation=pi/2))
ref_system_1.add(gdstk.Reference(via_stack_2, (25.36,3.135), rotation=pi/2))
ref_system_1.add(gdstk.Reference(via_stack_9, (23.67,4.455)))
ref_system_1.add(gdstk.Reference(via_stack_9, (23.67,8.175)))
ref_system_1.add(gdstk.Reference(via_stack_9, (23.67,0.605)))
ref_system_1.add(gdstk.Reference(via_stack_2, (25.36,5.775), rotation=pi/2))
ref_system_1.add(gdstk.Reference(via_stack_1, (25.36,7.665), rotation=pi/2))
ref_system_1.add(gdstk.Reference(via_stack_7_2, (15.41,0.605)))
ref_system_1.add(gdstk.Reference(via_stack_7_2, (19.79,0.605)))
ref_system_1.add(gdstk.Reference(via_stack_7_2, (15.41,4.455)))
ref_system_1.add(gdstk.Reference(via_stack_7_2, (19.79,4.455)))
ref_system_1.add(gdstk.Reference(via_stack_32_1, (19.89,4.455)))
ref_system_1.add(gdstk.Reference(via_stack_1, (13.22,7.665), rotation=pi/2))
ref_system_1.add(gdstk.Reference(via_stack_32_1, (17.35,9.55)))
ref_system_1.add(gdstk.Reference(via_stack_2, (13.22,3.135), rotation=pi/2))
ref_system_1.add(gdstk.Reference(via_stack_2, (13.22,5.775), rotation=pi/2))
ref_system_1.add(gdstk.Reference(via_stack_1, (13.22,7.665), rotation=pi/2))
ref_system_1.add(gdstk.Reference(via_stack_5, (15.47,4.445)))
ref_system_1.add(gdstk.Reference(via_stack_32_1, (15.47,4.455)))
ref_system_1.add(gdstk.Reference(via_stack_1, (13.22,8.7), rotation=pi/2))
ref_system_1.add(gdstk.Reference(via_stack, (13.22,0)))
ref_system_1.add(gdstk.Reference(via_stack_1, (13.22,0), rotation=pi/2))
ref_system_1.add(gdstk.Reference(nmoshv_3, (21.83,4.775)))
ref_system_1.add(gdstk.Reference(nmoshv_2, (21.83,7.415)))
ref_system_1.add(gdstk.Reference(via_stack_2, (17.6,3.135), rotation=pi/2))
ref_system_1.add(gdstk.Reference(via_stack_1, (13.22,1.115), rotation=pi/2))
ref_system_1.add(gdstk.Reference(nmoshv_2, (21.83,0.865)))
ref_system_1.add(gdstk.Reference(via_stack_2, (17.6,5.775), rotation=pi/2))
ref_system_1.add(gdstk.Reference(via_stack, (21.98,0)))
ref_system_1.add(gdstk.Reference(via_stack_1, (21.98,0), rotation=pi/2))
ref_system_1.add(gdstk.Reference(nmoshv_3, (21.83,2.135)))
ref_system_1.add(gdstk.Label('ack_VABI', (25.94,17.12), layer=30, texttype=25))
ref_system_1.add(gdstk.Label('capabias_VPN', (25.94,14.74), layer=30, texttype=25))
ref_system_1.add(gdstk.Label('vssa', (0.035,0), layer=30, texttype=25))
ref_system_1.add(gdstk.Label('mem_VNO', (0.35,8.39), layer=30, texttype=25))
ref_system_1.add(gdstk.Label('req_VABI', (0.5,12.105), layer=30, texttype=25))
ref_system_1.add(gdstk.Label('vdda', (0.035,20), layer=30, texttype=25))
ref_system_1.add(gdstk.Label('lk_VPI', (0.35,20.5), layer=50, texttype=25))

lib.write_gds('REF_system_1.gds')
